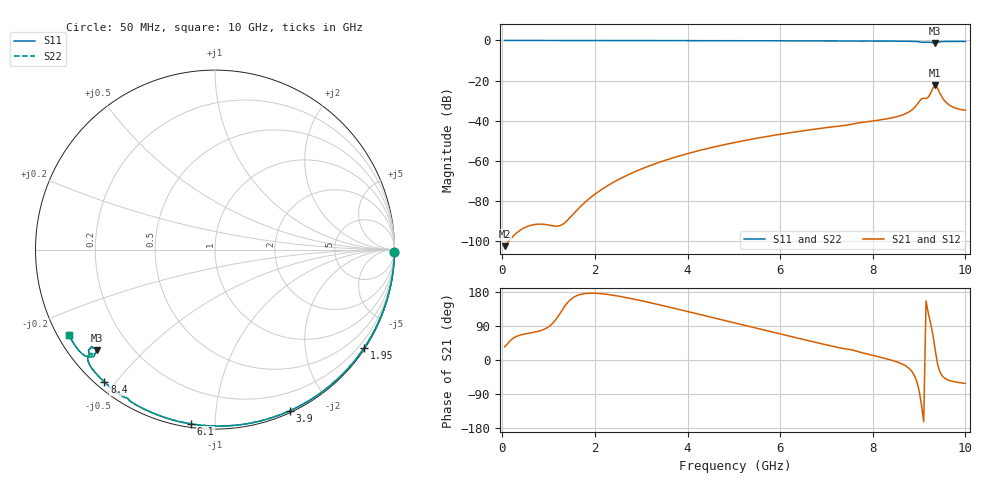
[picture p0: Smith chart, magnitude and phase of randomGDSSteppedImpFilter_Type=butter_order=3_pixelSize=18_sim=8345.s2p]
! freq	dB(S11)	phase(S11)	dB(S12)	phase(S12)
!  dB(S21)	phase(S21)	dB(S22)	phase(S22)
!S-par simulation data
#  GHz  S  DB  R 50
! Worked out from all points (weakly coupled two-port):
!   200 points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, 50 MHz to 10 GHz, reference 50 ohm
!   highest |S21| = -22.26 dB at 9.35 GHz (marker M1); lowest = -102.6 dB at 50 MHz (marker M2)
!   lowest |S11| = -1.3 dB at 9.35 GHz (marker M3), VSWR 13.56, Z = 4.18 - j18.3 ohm
!   |S11| at or under -10 dB: nowhere
!   |S22| runs from -1.2 to 0.0 dB; largest |S21 - S12| = 0
!   S11 on the Smith chart (normalised r, x): 50 MHz: open; 1.95 GHz: 0.03, -3.32; 3.9 GHz: 0.02, -1.57; 6.1 GHz: 0.02, -0.87; 8.4 GHz: 0.02, -0.47; 10 GHz: 0.03, -0.27
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0.05  -0.00 -0.9  -102.63 34.6  -102.63 34.6  -0.00 -0.9
0.9  -0.02 -15.6  -91.74 80.8  -91.74 80.8  -0.02 -15.6
1.75  -0.04 -30.1  -81.50 174.7  -81.50 174.7  -0.04 -30.1
1.85  -0.04 -31.8  -79.45 176.1  -79.45 176.1  -0.04 -31.8
1.95  -0.04 -33.5  -77.57 176.4  -77.57 176.4  -0.04 -33.5
2.6  -0.06 -44.3  -68.32 166.5  -68.32 166.5  -0.06 -44.3
3.4  -0.08 -57.2  -60.71 145.4  -60.71 145.4  -0.08 -57.2
3.9  -0.09 -65.1  -57.10 131.0  -57.10 131.0  -0.09 -65.1
5.05  -0.13 -82.5  -50.76 96.8  -50.76 96.8  -0.13 -82.5
6.1  -0.17 -97.8  -46.45 65.8  -46.45 65.8  -0.17 -97.8
6.7  -0.21 -106.3  -44.40 48.4  -44.40 48.4  -0.21 -106.3
8.35  -0.34 -129.1  -38.90 1.3  -38.90 1.3  -0.34 -129.1
8.4  -0.34 -129.9  -38.67 -0.4  -38.67 -0.4  -0.34 -129.9
8.65  -0.38 -133.6  -37.10 -11.4  -37.10 -11.4  -0.38 -133.6
8.85  -0.44 -137.0  -34.59 -31.0  -34.59 -31.0  -0.44 -137.0
9.05  -0.88 -140.2  -29.17 -117.4  -29.17 -117.4  -0.90 -140.2
9.2  -0.83 -140.5  -28.24 123.3  -28.24 123.3  -0.84 -140.3
9.35  -1.28 -139.6  -22.26 25.1  -22.26 25.1  -1.25 -139.6
9.5  -0.56 -141.1  -28.48 -41.8  -28.48 -41.8  -0.56 -141.2
9.6  -0.50 -143.3  -31.28 -51.5  -31.28 -51.5  -0.50 -143.3
9.75  -0.49 -146.0  -33.44 -57.1  -33.44 -57.1  -0.49 -146.0
10  -0.51 -149.8  -34.83 -62.0  -34.83 -62.0  -0.51 -149.8
